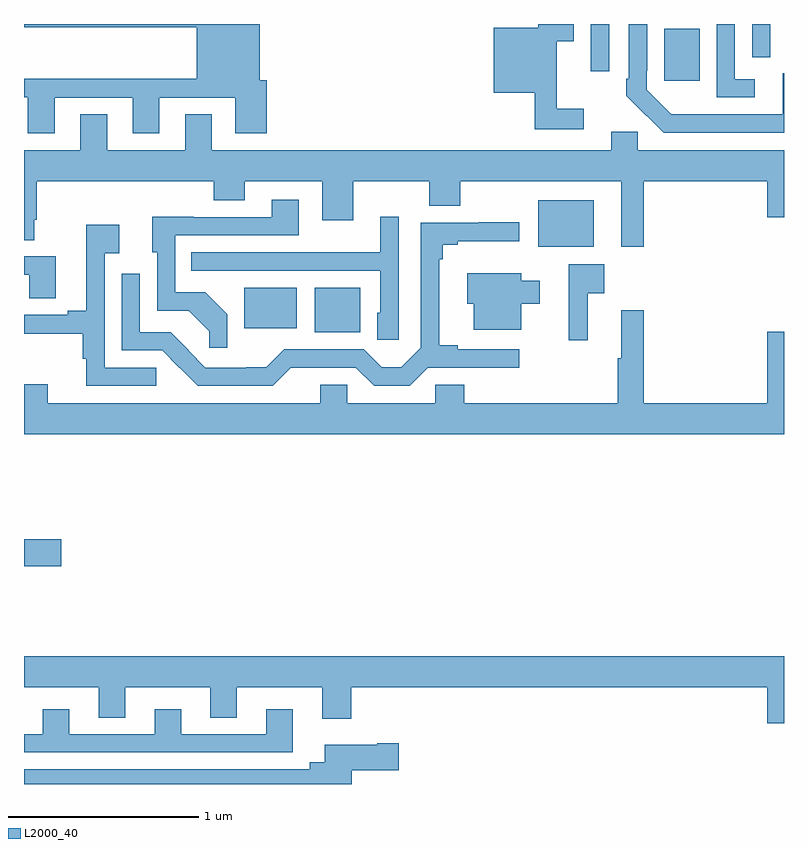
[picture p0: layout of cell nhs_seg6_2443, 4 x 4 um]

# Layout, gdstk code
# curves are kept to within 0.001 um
import gdstk
lib = gdstk.Library(unit=1e-6, precision=1e-09)
def R(c, l, rs):  # rectangles x0, y0, x1, y1
    for r in rs: c.add(gdstk.rectangle(r[:2], r[2:], *l))
def P(c, l, *ps):  # polygons
    for p in ps: c.add(gdstk.Polygon(p, *l))
L2000_40 = (2000, 40)

nhs_seg6_2443 = lib.new_cell('nhs_seg6_2443')
R(nhs_seg6_2443, L2000_40, [(257,942.646,257.197,942.788), (258.53,943.877,258.769,944.113), (258.158,943.898,258.436,944.113), (259.706,944.327,259.999,944.572), (260.369,945.201,260.557,945.475), (259.983,945.252,260.079,945.5), (260.832,945.324,260.928,945.5)])
P(nhs_seg6_2443, L2000_40, [(260.845,945.21),(260.742,945.21),(260.742,945.5),(260.646,945.5),(260.646,945.114),(260.845,945.114)],
  [(259.945,945.055),(259.805,945.055),(259.805,945.41),(259.894,945.41),(259.894,945.5),(259.706,945.5),(259.706,945.481),(259.472,945.481),(259.472,945.137),(259.687,945.137),(259.687,944.946),(259.945,944.946)],
  [(257.161,945.111),(257.573,945.111),(257.573,944.925),(257.713,944.925),(257.713,945.111),(258.113,945.111),(258.113,944.925),(258.278,944.925),(258.278,945.204),(258.241,945.204),(258.241,945.5),(257,945.5),(257,945.482),(257.909,945.482),(257.909,945.212),(257,945.212),(257,945.114),(257.021,945.114),(257.021,944.925),(257.161,944.925)],
  [(261,945.24),(260.993,945.24),(260.993,945.024),(260.406,945.025),(260.277,945.153),(260.277,945.253),(260.28,945.253),(260.28,945.5),(260.184,945.5),(260.184,945.211),(260.169,945.211),(260.169,945.123),(260.366,944.928),(261,944.928)],
  [(257.999,944.573),(258.163,944.573),(258.163,944.672),(258.569,944.672),(258.569,944.466),(258.733,944.466),(258.733,944.672),(259.133,944.672),(259.133,944.544),(259.297,944.544),(259.297,944.672),(260.144,944.672),(260.144,944.328),(260.261,944.328),(260.261,944.672),(260.912,944.672),(260.912,944.484),(261,944.484),(261,944.836),(260.229,944.836),(260.229,944.934),(260.09,944.934),(260.09,944.836),(257.989,944.836),(257.989,945.026),(257.849,945.026),(257.849,944.836),(257.437,944.836),(257.437,945.026),(257.297,945.026),(257.297,944.836),(257,944.836),(257,944.362),(257.053,944.362),(257.053,944.47),(257.066,944.47),(257.066,944.672),(257.999,944.672)],
  [(258.069,943.972),(257.953,944.088),(257.796,944.088),(257.796,944.388),(258.445,944.388),(258.445,944.575),(258.305,944.575),(258.305,944.484),(257.893,944.484),(257.893,944.486),(257.675,944.486),(257.675,944.298),(257.7,944.298),(257.7,943.992),(257.866,943.992),(257.974,943.884),(257.974,943.797),(258.069,943.797)],
  [(258.972,944.485),(258.875,944.485),(258.875,944.299),(258.541,944.299),(258.541,944.298),(257.881,944.298),(257.881,944.202),(258.876,944.202),(258.876,943.98),(258.86,943.98),(258.86,943.837),(258.972,943.837)],
  [(258.404,943.691),(258.747,943.692),(258.843,943.596),(259.03,943.596),(259.126,943.692),(259.606,943.691),(259.606,943.788),(259.282,943.788),(259.282,943.808),(259.186,943.808),(259.186,944.261),(259.205,944.261),(259.205,944.338),(259.282,944.338),(259.282,944.357),(259.606,944.357),(259.606,944.456),(259.393,944.456),(259.393,944.454),(259.089,944.454),(259.089,943.797),(258.985,943.693),(258.884,943.693),(258.789,943.788),(258.369,943.788),(258.275,943.694),(258.17,943.694),(258.17,943.692),(257.955,943.692),(257.865,943.782),(257.867,943.784),(257.773,943.878),(257.61,943.878),(257.61,944.185),(257.514,944.185),(257.514,943.782),(257.727,943.782),(257.915,943.596),(258.309,943.596)],
  [(257.697,943.692),(257.424,943.692),(257.424,944.294),(257.5,944.294),(257.5,944.443),(257.327,944.443),(257.327,943.991),(257.231,943.991),(257.231,943.971),(257,943.971),(257,943.87),(257.308,943.87),(257.308,943.739),(257.327,943.739),(257.327,943.596),(257.697,943.596)],
  [(257.167,944.277),(257,944.277),(257,944.181),(257.027,944.181),(257.027,944.056),(257.167,944.056)],
  [(259.967,944.084),(260.053,944.084),(260.053,944.236),(259.868,944.236),(259.868,943.836),(259.967,943.836)],
  [(259.618,944.027),(259.714,944.027),(259.714,944.149),(259.618,944.149),(259.618,944.188),(259.334,944.188),(259.334,944.027),(259.367,944.027),(259.367,943.892),(259.618,943.892)],
  [(261,943.879),(260.912,943.879),(260.912,943.504),(260.261,943.504),(260.261,943.993),(260.144,943.993),(260.144,943.74),(260.125,943.74),(260.125,943.504),(259.316,943.504),(259.316,943.602),(259.164,943.602),(259.164,943.504),(258.702,943.504),(258.702,943.602),(258.56,943.602),(258.56,943.504),(257.125,943.504),(257.125,943.603),(257,943.603),(257,943.34),(261,943.34)],
  [(261,942.172),(257,942.172),(257,942.008),(257.393,942.008),(257.393,941.848),(257.533,941.848),(257.533,942.008),(257.981,942.008),(257.981,941.848),(258.121,941.848),(258.121,942.008),(258.569,942.008),(258.569,941.844),(258.722,941.844),(258.722,942.008),(260.912,942.008),(260.912,941.82),(261,941.82)],
  [(258.415,941.893),(258.275,941.893),(258.275,941.763),(257.827,941.763),(257.827,941.893),(257.687,941.893),(257.687,941.763),(257.239,941.763),(257.239,941.893),(257.099,941.893),(257.099,941.763),(257,941.763),(257,941.667),(258.415,941.667)],
  [(258.724,941.573),(258.973,941.573),(258.973,941.715),(258.86,941.715),(258.86,941.707),(258.584,941.707),(258.584,941.614),(258.503,941.614),(258.503,941.578),(257,941.578),(257,941.5),(258.724,941.5)])

lib.write_gds('nhs_seg6_2443.gds')
